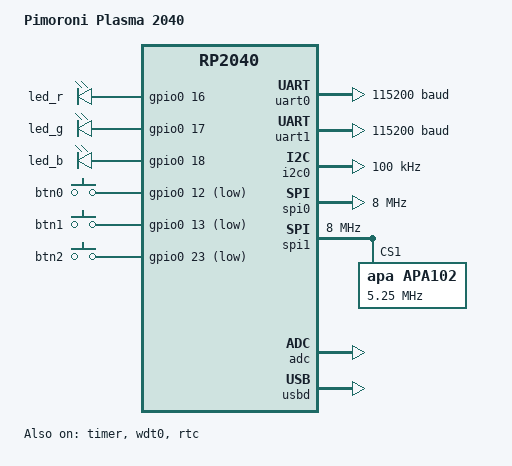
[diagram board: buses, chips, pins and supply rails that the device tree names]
/*
 * Copyright (c) 2021 Yonatan Schachter
 *
 * SPDX-License-Identifier: Apache-2.0
 */

/dts-v1/;

#include <freq.h>

#include <rpi_pico/rp2040.dtsi>

#include "plasma_2040-pinctrl.dtsi"
#include <zephyr/dt-bindings/pwm/pwm.h>
#include <zephyr/dt-bindings/input/input-event-codes.h>
#include <zephyr/dt-bindings/i2c/i2c.h>

/* Only the rpi_pico/rp2040 has a pwm. */
/* This define can be used to avoid sourcing board overlays when the PWM is not available */
#define HAS_DT_PWM_LED 1

/ {

	model = "Pimoroni Plasma 2040";
	compatible = "raspberrypi,plasma_2040";

	chosen {
		zephyr,sram = &sram0;
		zephyr,flash = &flash0;
		zephyr,flash-controller = &ssi;
		zephyr,console = &uart1;
		zephyr,shell-uart = &uart1;
		zephyr,code-partition = &code_partition;
	};


	leds {
		compatible = "gpio-leds";
		led_r: led_0 {
			gpios = <&gpio0 16 GPIO_ACTIVE_HIGH>;
		};
		led_g: led_1 {
			gpios = <&gpio0 17 GPIO_ACTIVE_HIGH>;
		};
		led_b: led_2 {
			gpios = <&gpio0 18 GPIO_ACTIVE_HIGH>;
		};
	};

	keys {
		compatible = "gpio-keys";
		btn0: button0 {
			gpios = <&gpio0 12 (GPIO_PULL_UP | GPIO_ACTIVE_LOW)>;
			zephyr,code = <0x100>; /* BTN_0 */
		};
		btn1: button1 {
			gpios = <&gpio0 13 (GPIO_PULL_UP | GPIO_ACTIVE_LOW)>;
			zephyr,code = <0x101>; /* BTN_1 */
		};
		btn2: button2 {
			gpios = <&gpio0 23 GPIO_ACTIVE_LOW>; /*  Has a pull-up resistor already  */
			zephyr,code = <0x102>; /* BTN_2 */
		};
	};

	aliases {
		rtc = &rtc;
		watchdog0 = &wdt0;
		ledr = &led_r;
		ledg = &led_g;
		ledb = &led_b;
	};
};

&flash0 {
	reg = <0x10000000 DT_SIZE_M(2)>;

	partitions {
		compatible = "fixed-partitions";
		#address-cells = <1>;
		#size-cells = <1>;

		/* Reserved memory for the second stage bootloader */
		second_stage_bootloader: partition@0 {
			label = "second_stage_bootloader";
			reg = <0x00000000 0x100>;
			read-only;
		};

		/*
		 * Usable flash. Starts at 0x100, after the bootloader. The partition
		 * size is 2MB minus the 0x100 bytes taken by the bootloader.
		 */
		code_partition: partition@100 {
			label = "code-partition";
			reg = <0x100 (DT_SIZE_M(2) - 0x100)>;
			read-only;
		};
	};
};

&clocks {
	pinctrl-0 = <&clocks_default>;
	pinctrl-names = "default";
};

&uart0 {
	current-speed = <115200>;
	status = "okay";
	pinctrl-0 = <&uart0_default>;
	pinctrl-names = "default";
};


&uart1{
	current-speed = <115200>;
	status = "okay";
	pinctrl-0 = <&uart1_default>;
	pinctrl-names = "default";
};


&gpio0 {
	status = "okay";
};

&i2c0 {
	clock-frequency = <I2C_BITRATE_STANDARD>;
	status = "okay";
	pinctrl-0 = <&i2c0_default>;
	pinctrl-names = "default";
};

&i2c1 {
	pinctrl-0 = <&i2c1_default>;
	pinctrl-names = "default";
	status = "disabled";
	clock-frequency = <I2C_BITRATE_FAST>;
};

&spi0 {
	clock-frequency = <DT_FREQ_M(8)>;
	status = "okay";
	pinctrl-0 = <&spi0_default>;
	pinctrl-names = "default";
};

&spi1 {
	clock-frequency = <DT_FREQ_M(8)>;
	status = "okay";
	pinctrl-0 = <&spi1_default>;
	pinctrl-names = "default";

	apa102: apa102@1 {
		compatible = "apa,apa102";
		reg = <1>;
		spi-max-frequency = <5250000>;
	};
};


&timer {
	status = "okay";
};

&wdt0 {
	status = "okay";
};

&rtc {
	clocks = <&clocks RPI_PICO_CLKID_CLK_RTC>;
	status = "okay";
};

&adc {
	status = "okay";
	pinctrl-0 = <&adc_default>;
	pinctrl-names = "default";
};

zephyr_udc0: &usbd {
	status = "okay";
};

&pwm {
	pinctrl-0 = <&pwm_ch4b_default>;
	pinctrl-names = "default";
	divider-int-0 = <255>;
};

&vreg {
	regulator-always-on;
	regulator-allowed-modes = <REGULATOR_RPI_PICO_MODE_NORMAL>;
};
